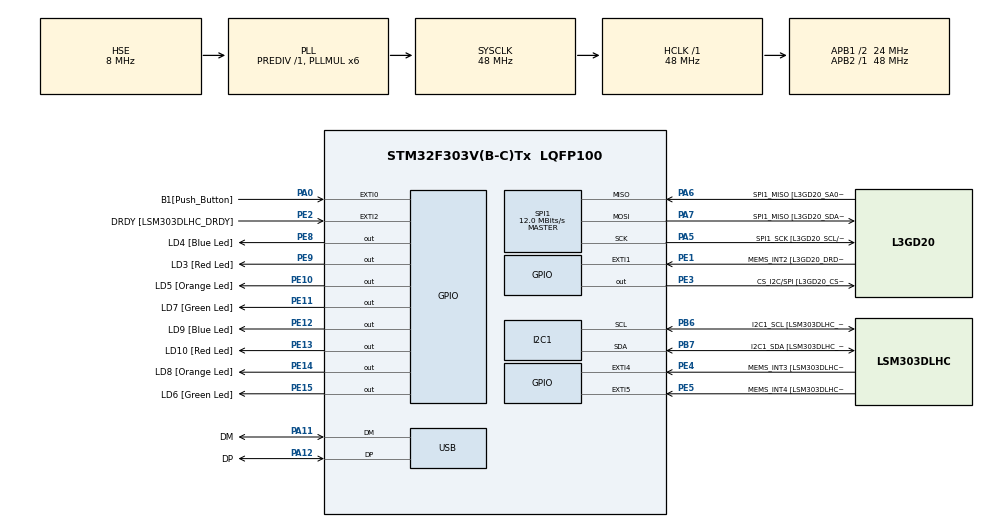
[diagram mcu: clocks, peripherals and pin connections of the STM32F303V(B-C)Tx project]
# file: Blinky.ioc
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I2C1.Timing-I2C=0x2000090E
Mcu.Family=STM32F3
Mcu.Name=STM32F303V(B-C)Tx
Mcu.Package=LQFP100
NVIC.EXTI0_IRQn=true\:0\:0\:false\:false\:true\:true\:true\:true
NVIC.PriorityGroup=NVIC_PRIORITYGROUP_0
PA0.GPIO_Label=B1[Push_Button]
PA0.GPIO_ModeDefaultEXTI=GPIO_MODE_IT_RISING
PA0.Signal=GPXTI0
PA11.GPIO_Label=DM
PA11.Mode=Device
PA11.Signal=USB_DM
PA12.GPIO_Label=DP
PA12.Mode=Device
PA12.Signal=USB_DP
PA13.GPIO_Label=SWDIO
PA13.Mode=Serial_Wire
PA13.Signal=SYS_JTMS-SWDIO
PA14.GPIO_Label=SWCLK
PA14.Mode=Serial_Wire
PA14.Signal=SYS_JTCK-SWCLK
PA5.GPIO_Label=SPI1_SCK [L3GD20_SCL/SPC]
PA5.Mode=Full_Duplex_Master
PA5.Signal=SPI1_SCK
PA6.GPIO_Label=SPI1_MISO [L3GD20_SA0/SDO]
PA6.Mode=Full_Duplex_Master
PA6.Signal=SPI1_MISO
PA7.GPIO_Label=SPI1_MISO [L3GD20_SDA/SDI/SDO]
PA7.Mode=Full_Duplex_Master
PA7.Signal=SPI1_MOSI
PB3.GPIO_Label=SWO
PB3.Signal=SYS_JTDO-TRACESWO
PB6.GPIO_Label=I2C1_SCL [LSM303DLHC_SCL]
PB6.GPIO_Pu=GPIO_PULLUP
PB6.Mode=I2C
PB6.Signal=I2C1_SCL
PB7.GPIO_Label=I2C1_SDA [LSM303DLHC_SDA]
PB7.GPIO_Pu=GPIO_PULLUP
PB7.Mode=I2C
PB7.Signal=I2C1_SDA
PC14-OSC32_IN.GPIO_Label=OSC32_IN
PC14-OSC32_IN.Signal=RCC_OSC32_IN
PC15-OSC32_OUT.GPIO_Label=OSC32_OUT
PC15-OSC32_OUT.Signal=RCC_OSC32_OUT
PE1.GPIO_Label=MEMS_INT2 [L3GD20_DRDY/INT2]
PE1.GPIO_ModeDefaultEXTI=GPIO_MODE_EVT_RISING
PE1.Signal=GPXTI1
PE10.GPIO_Label=LD5 [Orange Led]
PE10.Signal=GPIO_Output
PE11.GPIO_Label=LD7 [Green Led]
PE11.Signal=GPIO_Output
PE12.GPIO_Label=LD9 [Blue Led]
PE12.Signal=GPIO_Output
PE13.GPIO_Label=LD10 [Red Led]
PE13.Signal=GPIO_Output
PE14.GPIO_Label=LD8 [Orange Led]
PE14.Signal=GPIO_Output
PE15.GPIO_Label=LD6 [Green Led]
PE15.Signal=GPIO_Output
PE2.GPIO_Label=DRDY [LSM303DLHC_DRDY]
PE2.GPIO_ModeDefaultEXTI=GPIO_MODE_EVT_RISING
PE2.Signal=GPXTI2
PE3.GPIO_Label=CS_I2C/SPI [L3GD20_CS_I2C/SPI]
PE3.Signal=GPIO_Output
PE4.GPIO_Label=MEMS_INT3 [LSM303DLHC_INT1]
PE4.GPIO_ModeDefaultEXTI=GPIO_MODE_EVT_RISING
PE4.Signal=GPXTI4
PE5.GPIO_Label=MEMS_INT4 [LSM303DLHC_INT2]
PE5.GPIO_ModeDefaultEXTI=GPIO_MODE_EVT_RISING
PE5.Signal=GPXTI5
PE8.GPIO_Label=LD4 [Blue Led]
PE8.Signal=GPIO_Output
PE9.GPIO_Label=LD3 [Red Led]
PE9.Signal=GPIO_Output
PF0-OSC_IN.GPIO_Label=OSC_IN
PF0-OSC_IN.Mode=HSE-External-Clock-Source
PF0-OSC_IN.Signal=RCC_OSC_IN
PF1-OSC_OUT.GPIO_Label=OSC_OUT
PF1-OSC_OUT.Signal=RCC_OSC_OUT
ProjectManager.HeapSize=0x200
ProjectManager.StackSize=0x400
ProjectManager.TargetToolchain=STM32CubeIDE
RCC.AHBFreq_Value=48000000
RCC.APB1CLKDivider=RCC_HCLK_DIV2
RCC.APB1Freq_Value=24000000
RCC.APB1TimFreq_Value=48000000
RCC.APB2Freq_Value=48000000
RCC.APB2TimFreq_Value=48000000
RCC.CortexFreq_Value=48000000
RCC.HCLKFreq_Value=48000000
RCC.HSE_VALUE=8000000
RCC.HSI_VALUE=8000000
RCC.LSE_VALUE=32768
RCC.PLLMUL=RCC_PLL_MUL6
RCC.SYSCLKFreq_VALUE=48000000
RCC.SYSCLKSourceVirtual=RCC_SYSCLKSOURCE_PLLCLK
RCC.USBFreq_Value=48000000
SPI1.BaudRatePrescaler=SPI_BAUDRATEPRESCALER_4
SPI1.BaudRatePrescaler-Full_Duplex_Master=SPI_BAUDRATEPRESCALER_2
SPI1.CalculateBaudRate=12.0 MBits/s
SPI1.CalculateBaudRate-Full_Duplex_Master=24.0 MBits/s
SPI1.Direction=SPI_DIRECTION_2LINES
SPI1.Mode=SPI_MODE_MASTER
SPI1.Mode-Full_Duplex_Master=SPI_MODE_MASTER
SPI1.VirtualType=VM_MASTER
board=STM32F3DISCOVERY

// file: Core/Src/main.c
/* USER CODE BEGIN Header */
/**
  ******************************************************************************
  * @file           : main.c
  * @brief          : Main program body
  ******************************************************************************
  * @attention
  *
  * Copyright (c) 2023 STMicroelectronics.
  * All rights reserved.
  *
  * This software is licensed under terms that can be found in the LICENSE file
  * in the root directory of this software component.
  * If no LICENSE file comes with this software, it is provided AS-IS.
  *
  ******************************************************************************
  */
/* USER CODE END Header */
#include "main.h"

I2C_HandleTypeDef hi2c1;

SPI_HandleTypeDef hspi1;

PCD_HandleTypeDef hpcd_USB_FS;

void SystemClock_Config(void);
static void MX_GPIO_Init(void);
static void MX_I2C1_Init(void);
static void MX_SPI1_Init(void);
static void MX_USB_PCD_Init(void);

int main(void)
{

  /* MCU Configuration--------------------------------------------------------*/

  /* Reset of all peripherals, Initializes the Flash interface and the Systick. */
  HAL_Init();

  /* Configure the system clock */
  SystemClock_Config();

  /* Initialize all configured peripherals */
  MX_GPIO_Init();
  MX_I2C1_Init();
  MX_SPI1_Init();
  MX_USB_PCD_Init();

  /* Infinite loop */
  while (1)
  {

    /* USER CODE BEGIN 3 */
	  HAL_GPIO_TogglePin(LD6_GPIO_Port, LD6_Pin);
	  HAL_Delay(500);
	  HAL_GPIO_TogglePin(LD8_GPIO_Port, LD8_Pin);
	  HAL_Delay(500);
	  HAL_GPIO_TogglePin(LD10_GPIO_Port, LD10_Pin);
	  HAL_Delay(500);
	  HAL_GPIO_TogglePin(LD9_GPIO_Port, LD9_Pin);
	  HAL_Delay(500);
	  HAL_GPIO_TogglePin(LD7_GPIO_Port, LD7_Pin);
	  HAL_Delay(500);
	  HAL_GPIO_TogglePin(LD5_GPIO_Port, LD5_Pin);
	  HAL_Delay(500);
	  HAL_GPIO_TogglePin(LD3_GPIO_Port, LD3_Pin);
	  HAL_Delay(500);
	  HAL_GPIO_TogglePin(LD4_GPIO_Port, LD4_Pin);
	  HAL_Delay(500);

  }
  /* USER CODE END 3 */
}

void SystemClock_Config(void)
{
  RCC_OscInitTypeDef RCC_OscInitStruct = {0};
  RCC_ClkInitTypeDef RCC_ClkInitStruct = {0};
  RCC_PeriphCLKInitTypeDef PeriphClkInit = {0};

  /** Initializes the RCC Oscillators according to the specified parameters
  * in the RCC_OscInitTypeDef structure.
  */
  RCC_OscInitStruct.OscillatorType = RCC_OSCILLATORTYPE_HSI|RCC_OSCILLATORTYPE_HSE;
  RCC_OscInitStruct.HSEState = RCC_HSE_BYPASS;
  RCC_OscInitStruct.HSEPredivValue = RCC_HSE_PREDIV_DIV1;
  RCC_OscInitStruct.HSIState = RCC_HSI_ON;
  RCC_OscInitStruct.HSICalibrationValue = RCC_HSICALIBRATION_DEFAULT;
  RCC_OscInitStruct.PLL.PLLState = RCC_PLL_ON;
  RCC_OscInitStruct.PLL.PLLSource = RCC_PLLSOURCE_HSE;
  RCC_OscInitStruct.PLL.PLLMUL = RCC_PLL_MUL6;
  if (HAL_RCC_OscConfig(&RCC_OscInitStruct) != HAL_OK)
  {
    Error_Handler();
  }

  /** Initializes the CPU, AHB and APB buses clocks
  */
  RCC_ClkInitStruct.ClockType = RCC_CLOCKTYPE_HCLK|RCC_CLOCKTYPE_SYSCLK
                              |RCC_CLOCKTYPE_PCLK1|RCC_CLOCKTYPE_PCLK2;
  RCC_ClkInitStruct.SYSCLKSource = RCC_SYSCLKSOURCE_PLLCLK;
  RCC_ClkInitStruct.AHBCLKDivider = RCC_SYSCLK_DIV1;
  RCC_ClkInitStruct.APB1CLKDivider = RCC_HCLK_DIV2;
  RCC_ClkInitStruct.APB2CLKDivider = RCC_HCLK_DIV1;

  if (HAL_RCC_ClockConfig(&RCC_ClkInitStruct, FLASH_LATENCY_1) != HAL_OK)
  {
    Error_Handler();
  }
  PeriphClkInit.PeriphClockSelection = RCC_PERIPHCLK_USB|RCC_PERIPHCLK_I2C1;
  PeriphClkInit.I2c1ClockSelection = RCC_I2C1CLKSOURCE_HSI;
  PeriphClkInit.USBClockSelection = RCC_USBCLKSOURCE_PLL;
  if (HAL_RCCEx_PeriphCLKConfig(&PeriphClkInit) != HAL_OK)
  {
    Error_Handler();
  }
}

static void MX_I2C1_Init(void)
{

  hi2c1.Instance = I2C1;
  hi2c1.Init.Timing = 0x2000090E;
  hi2c1.Init.OwnAddress1 = 0;
  hi2c1.Init.AddressingMode = I2C_ADDRESSINGMODE_7BIT;
  hi2c1.Init.DualAddressMode = I2C_DUALADDRESS_DISABLE;
  hi2c1.Init.OwnAddress2 = 0;
  hi2c1.Init.OwnAddress2Masks = I2C_OA2_NOMASK;
  hi2c1.Init.GeneralCallMode = I2C_GENERALCALL_DISABLE;
  hi2c1.Init.NoStretchMode = I2C_NOSTRETCH_DISABLE;
  if (HAL_I2C_Init(&hi2c1) != HAL_OK)
  {
    Error_Handler();
  }

  /** Configure Analogue filter
  */
  if (HAL_I2CEx_ConfigAnalogFilter(&hi2c1, I2C_ANALOGFILTER_ENABLE) != HAL_OK)
  {
    Error_Handler();
  }

  /** Configure Digital filter
  */
  if (HAL_I2CEx_ConfigDigitalFilter(&hi2c1, 0) != HAL_OK)
  {
    Error_Handler();
  }

}

static void MX_SPI1_Init(void)
{

  /* SPI1 parameter configuration*/
  hspi1.Instance = SPI1;
  hspi1.Init.Mode = SPI_MODE_MASTER;
  hspi1.Init.Direction = SPI_DIRECTION_2LINES;
  hspi1.Init.DataSize = SPI_DATASIZE_4BIT;
  hspi1.Init.CLKPolarity = SPI_POLARITY_LOW;
  hspi1.Init.CLKPhase = SPI_PHASE_1EDGE;
  hspi1.Init.NSS = SPI_NSS_SOFT;
  hspi1.Init.BaudRatePrescaler = SPI_BAUDRATEPRESCALER_4;
  hspi1.Init.FirstBit = SPI_FIRSTBIT_MSB;
  hspi1.Init.TIMode = SPI_TIMODE_DISABLE;
  hspi1.Init.CRCCalculation = SPI_CRCCALCULATION_DISABLE;
  hspi1.Init.CRCPolynomial = 7;
  hspi1.Init.CRCLength = SPI_CRC_LENGTH_DATASIZE;
  hspi1.Init.NSSPMode = SPI_NSS_PULSE_ENABLE;
  if (HAL_SPI_Init(&hspi1) != HAL_OK)
  {
    Error_Handler();
  }

}

static void MX_USB_PCD_Init(void)
{

  hpcd_USB_FS.Instance = USB;
  hpcd_USB_FS.Init.dev_endpoints = 8;
  hpcd_USB_FS.Init.speed = PCD_SPEED_FULL;
  hpcd_USB_FS.Init.phy_itface = PCD_PHY_EMBEDDED;
  hpcd_USB_FS.Init.low_power_enable = DISABLE;
  hpcd_USB_FS.Init.battery_charging_enable = DISABLE;
  if (HAL_PCD_Init(&hpcd_USB_FS) != HAL_OK)
  {
    Error_Handler();
  }

}

static void MX_GPIO_Init(void)
{
  GPIO_InitTypeDef GPIO_InitStruct = {0};

  /* GPIO Ports Clock Enable */
  __HAL_RCC_GPIOE_CLK_ENABLE();
  __HAL_RCC_GPIOC_CLK_ENABLE();
  __HAL_RCC_GPIOF_CLK_ENABLE();
  __HAL_RCC_GPIOA_CLK_ENABLE();
  __HAL_RCC_GPIOB_CLK_ENABLE();

  /*Configure GPIO pin Output Level */
  HAL_GPIO_WritePin(GPIOE, CS_I2C_SPI_Pin|LD4_Pin|LD3_Pin|LD5_Pin
                          |LD7_Pin|LD9_Pin|LD10_Pin|LD8_Pin
                          |LD6_Pin, GPIO_PIN_RESET);

  /*Configure GPIO pins : DRDY_Pin MEMS_INT3_Pin MEMS_INT4_Pin MEMS_INT2_Pin */
  GPIO_InitStruct.Pin = DRDY_Pin|MEMS_INT3_Pin|MEMS_INT4_Pin|MEMS_INT2_Pin;
  GPIO_InitStruct.Mode = GPIO_MODE_EVT_RISING;
  GPIO_InitStruct.Pull = GPIO_NOPULL;
  HAL_GPIO_Init(GPIOE, &GPIO_InitStruct);

  /*Configure GPIO pins : CS_I2C_SPI_Pin LD4_Pin LD3_Pin LD5_Pin
                           LD7_Pin LD9_Pin LD10_Pin LD8_Pin
                           LD6_Pin */
  GPIO_InitStruct.Pin = CS_I2C_SPI_Pin|LD4_Pin|LD3_Pin|LD5_Pin
                          |LD7_Pin|LD9_Pin|LD10_Pin|LD8_Pin
                          |LD6_Pin;
  GPIO_InitStruct.Mode = GPIO_MODE_OUTPUT_PP;
  GPIO_InitStruct.Pull = GPIO_NOPULL;
  GPIO_InitStruct.Speed = GPIO_SPEED_FREQ_LOW;
  HAL_GPIO_Init(GPIOE, &GPIO_InitStruct);

  /*Configure GPIO pin : B1_Pin */
  GPIO_InitStruct.Pin = B1_Pin;
  GPIO_InitStruct.Mode = GPIO_MODE_IT_RISING;
  GPIO_InitStruct.Pull = GPIO_NOPULL;
  HAL_GPIO_Init(B1_GPIO_Port, &GPIO_InitStruct);

  /* EXTI interrupt init*/
  HAL_NVIC_SetPriority(EXTI0_IRQn, 0, 0);
  HAL_NVIC_EnableIRQ(EXTI0_IRQn);

}

/* USER CODE BEGIN 4 */
void HAL_GPIO_EXTI_Callback(uint16_t GPIO_Pin){
	if(GPIO_Pin == B1_Pin){
		HAL_GPIO_TogglePin(LD10_GPIO_Port, LD10_Pin);
	}
}
/* USER CODE END 4 */

void Error_Handler(void)
{
  __disable_irq();
  while (1)
  {
  }
}
